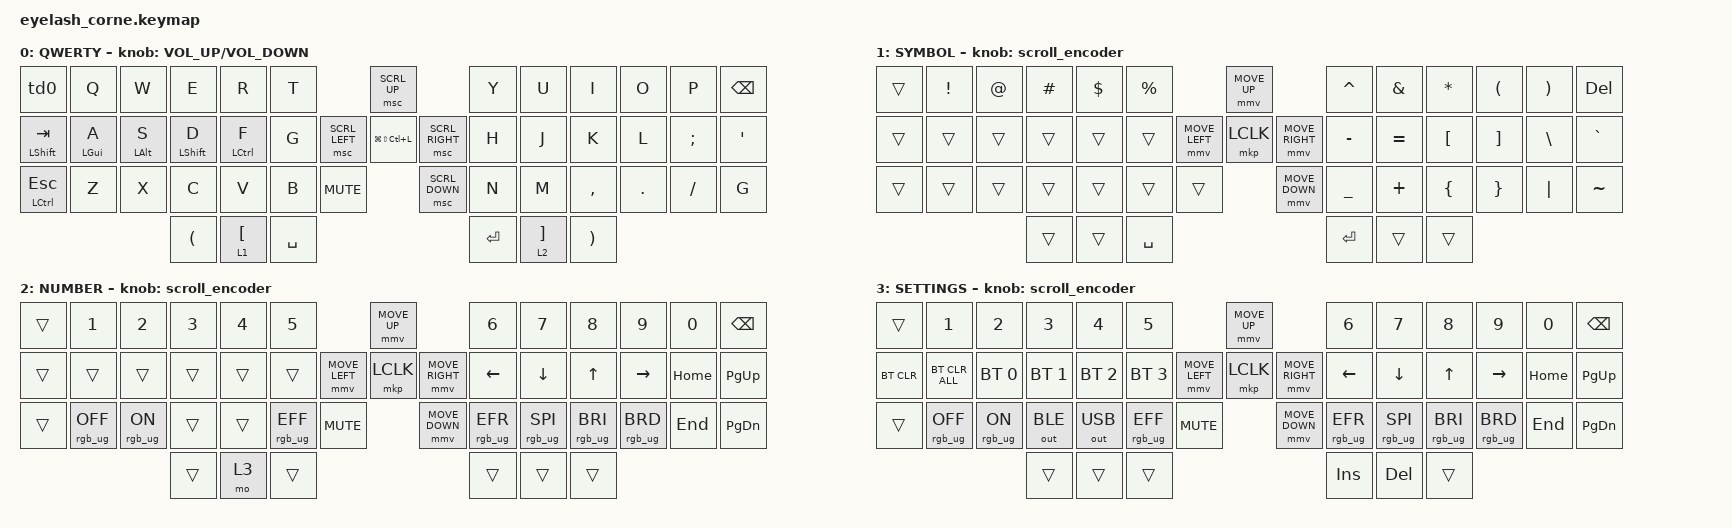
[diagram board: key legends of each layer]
#include <input/processors.dtsi>
#include <dt-bindings/zmk/mouse.h>
#include <behaviors.dtsi>
#include <dt-bindings/zmk/bt.h>
#include <dt-bindings/zmk/keys.h>
#include <dt-bindings/zmk/outputs.h>
#include <dt-bindings/zmk/pointing.h>
#include <dt-bindings/zmk/rgb.h>

/*

   &mmv_input_listener {
       input-processors = <&zip_xy_scaler 2 1>;
   };

   &msc_input_listener {
       input-processors = <&zip_xy_scaler 2 1>;
   };

 */

#define ZMK_MOUSE_DEFAULT_MOVE_VAL 1200  // 600
#define ZMK_MOUSE_DEFAULT_SCRL_VAL 20    // 10

&mt { tapping-term-ms = <750>; };

/ {
    behaviors {
        td0: td0 {
            compatible = "zmk,behavior-tap-dance";
            display-name = "Shift/Caps Lock Tap Dance";
            #binding-cells = <0>;
            bindings = <&kp LEFT_SHIFT>, <&kp CAPS>;
        };
    };

    rgb_encoder: rgb_encoder {
        compatible = "zmk,behavior-sensor-rotate";
        #sensor-binding-cells = <0>;
        bindings = <&rgb_ug RGB_BRI>, <&rgb_ug RGB_BRD>;
    };

    scroll_encoder: scroll_encoder {
        compatible = "zmk,behavior-sensor-rotate";
        #sensor-binding-cells = <0>;
        bindings = <&msc SCRL_DOWN>, <&msc SCRL_UP>;

        tap-ms = <30>;
    };

    keymap {
        compatible = "zmk,keymap";

        default_layer {
            display-name = "QWERTY";
            bindings = <
&td0                &kp Q           &kp W           &kp E                 &kp R               &kp T                                    &msc SCRL_UP                        &kp Y      &kp U                &kp I                  &kp O    &kp P     &kp BSPC
&mt LEFT_SHIFT TAB  &mt LEFT_GUI A  &mt LEFT_ALT S  &mt LEFT_SHIFT D      &mt LCTRL F         &kp G                    &msc SCRL_LEFT  &kp LG(LS(LC(L)))  &msc SCRL_RIGHT  &kp H      &kp J                &kp K                  &kp L    &kp SEMI  &kp SQT
&mt LCTRL ESC       &kp Z           &kp X           &kp C                 &kp V               &kp B      &kp K_MUTE                    &msc SCRL_DOWN                      &kp N      &kp M                &kp COMMA              &kp DOT  &kp FSLH  &kp G
                                                    &kp LEFT_PARENTHESIS  &lt 1 LEFT_BRACKET  &kp SPACE                                                                    &kp ENTER  &lt 2 RIGHT_BRACKET  &kp RIGHT_PARENTHESIS
            >;

            sensor-bindings = <&inc_dec_kp C_VOLUME_UP C_VOLUME_DOWN>;
        };

        raise_layer {
            display-name = "SYMBOL";
            bindings = <
&trans  &kp EXCL  &kp AT  &kp HASH  &kp DLLR  &kp PRCNT                            &mmv MOVE_UP                     &kp CARET  &kp AMPS   &kp ASTRK  &kp LPAR  &kp RPAR  &kp DELETE
&trans  &trans    &trans  &trans    &trans    &trans               &mmv MOVE_LEFT  &mkp LCLK       &mmv MOVE_RIGHT  &kp MINUS  &kp EQUAL  &kp LBKT   &kp RBKT  &kp BSLH  &kp GRAVE
&trans  &trans    &trans  &trans    &trans    &trans     &trans                    &mmv MOVE_DOWN                   &kp UNDER  &kp PLUS   &kp LBRC   &kp RBRC  &kp PIPE  &kp TILDE
                          &trans    &trans    &kp SPACE                                                             &kp RET    &trans     &trans
            >;

            sensor-bindings = <&scroll_encoder>;
        };

        lower_layer {
            display-name = "NUMBER";
            bindings = <
&trans  &kp N1           &kp N2          &kp N3  &kp N4  &kp N5                                         &mmv MOVE_UP                     &kp N6           &kp N7           &kp N8           &kp N9           &kp N0    &kp BSPC
&trans  &trans           &trans          &trans  &trans  &trans                         &mmv MOVE_LEFT  &mkp LCLK       &mmv MOVE_RIGHT  &kp LEFT         &kp DOWN         &kp UP           &kp RIGHT        &kp HOME  &kp PG_UP
&trans  &rgb_ug RGB_OFF  &rgb_ug RGB_ON  &trans  &trans  &rgb_ug RGB_EFF  &kp C_MUTE                    &mmv MOVE_DOWN                   &rgb_ug RGB_EFR  &rgb_ug RGB_SPI  &rgb_ug RGB_BRI  &rgb_ug RGB_BRD  &kp END   &kp PG_DN
                                         &trans  &mo 3   &trans                                                                          &trans           &trans           &trans
            >;

            sensor-bindings = <&scroll_encoder>;
        };

        layer_4 {
            display-name = "SETTINGS";
            bindings = <
&trans      &kp N1           &kp N2          &kp N3        &kp N4        &kp N5                                         &mmv MOVE_UP                     &kp N6           &kp N7           &kp N8           &kp N9           &kp N0    &kp BSPC
&bt BT_CLR  &bt BT_CLR_ALL   &bt BT_SEL 0    &bt BT_SEL 1  &bt BT_SEL 2  &bt BT_SEL 3                   &mmv MOVE_LEFT  &mkp LCLK       &mmv MOVE_RIGHT  &kp LEFT         &kp DOWN         &kp UP           &kp RIGHT        &kp HOME  &kp PG_UP
&trans      &rgb_ug RGB_OFF  &rgb_ug RGB_ON  &out OUT_BLE  &out OUT_USB  &rgb_ug RGB_EFF  &kp C_MUTE                    &mmv MOVE_DOWN                   &rgb_ug RGB_EFR  &rgb_ug RGB_SPI  &rgb_ug RGB_BRI  &rgb_ug RGB_BRD  &kp END   &kp PG_DN
                                             &trans        &trans        &trans                                                                          &kp INS          &kp DEL          &trans
            >;

            sensor-bindings = <&scroll_encoder>;
        };
    };
};
